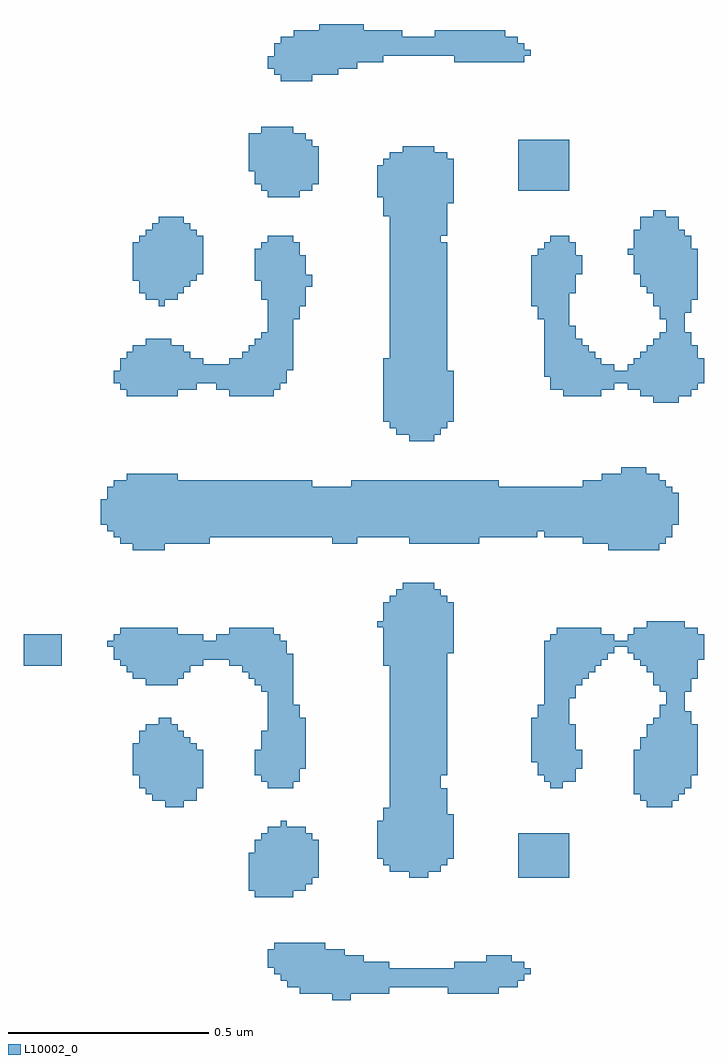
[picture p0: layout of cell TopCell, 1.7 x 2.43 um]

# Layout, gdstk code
import gdstk
lib = gdstk.Library(unit=1e-6, precision=1e-09)
def R(c, l, rs):  # rectangles x0, y0, x1, y1
    for r in rs: c.add(gdstk.rectangle(r[:2], r[2:], *l))
L10002_0 = (10002, 0)

topcell = lib.new_cell('TopCell')
R(topcell, L10002_0, [(1.584,0.704,1.631,0.72), (1.504,0.72,1.727,0.736), (1.872,0.72,1.999,0.736), (1.472,0.736,2.047,0.752), (1.456,0.752,2.063,0.768), (1.44,0.768,2.079,0.783), (1.44,0.783,1.727,0.784), (1.888,0.783,2.063,0.799), (1.424,0.784,1.727,0.799), (1.424,0.799,1.663,0.815), (1.968,0.799,2.031,0.815), (1.424,0.815,1.615,0.831), (1.44,0.831,1.567,0.847), (1.392,0.96,1.487,0.976), (1.376,0.976,1.519,1.071), (1.519,0.992,1.535,1.071), (1.535,1.008,1.551,1.071), (1.776,1.008,1.823,1.024), (2.048,1.008,2.175,1.119), (1.728,1.024,1.855,1.04), (1.712,1.04,1.871,1.056), (1.696,1.056,1.887,1.151), (1.392,1.071,1.551,1.103), (1.408,1.103,1.535,1.119), (1.424,1.119,1.519,1.135), (1.456,1.135,1.471,1.151), (1.712,1.151,1.887,1.167), (1.712,1.167,1.871,1.183), (1.728,1.183,1.871,1.231), (1.168,1.184,1.215,1.2), (2.368,1.184,2.431,1.2), (1.136,1.2,1.247,1.216), (2.352,1.2,2.447,1.216), (1.12,1.216,1.247,1.232), (2.336,1.216,2.463,1.327), (1.728,1.231,1.855,1.536), (1.104,1.232,1.263,1.264), (1.424,1.232,1.487,1.248), (2.128,1.232,2.159,1.248), (2.463,1.232,2.479,1.327), (1.408,1.248,1.503,1.264), (2.112,1.248,2.191,1.264), (1.088,1.264,1.263,1.327), (1.392,1.264,1.503,1.327), (1.855,1.264,1.871,1.536), (2.096,1.264,2.191,1.296), (2.479,1.264,2.495,1.327), (1.503,1.28,1.519,1.327), (2.191,1.28,2.207,1.296), (2.08,1.296,2.207,1.327), (1.088,1.327,1.247,1.343), (1.408,1.327,1.519,1.375), (2.08,1.327,2.191,1.391), (2.352,1.327,2.495,1.359), (1.104,1.343,1.231,1.359), (1.104,1.359,1.215,1.375), (2.368,1.359,2.495,1.391), (1.12,1.375,1.199,1.391), (1.424,1.375,1.519,1.407), (1.152,1.391,1.183,1.407), (2.08,1.391,2.175,1.407), (2.384,1.391,2.479,1.407), (1.424,1.407,1.503,1.439), (2.096,1.407,2.175,1.439), (2.4,1.407,2.479,1.423), (2.4,1.423,2.463,1.439), (1.424,1.439,1.487,1.472), (2.112,1.439,2.175,1.599), (2.416,1.439,2.463,1.472), (2.175,1.456,2.191,1.599), (1.408,1.472,1.487,1.488), (2.4,1.472,2.479,1.488), (1.12,1.488,1.199,1.504), (1.392,1.488,1.487,1.504), (2.191,1.488,2.207,1.599), (2.384,1.488,2.479,1.52), (1.088,1.504,1.215,1.52), (1.376,1.504,1.487,1.52), (2.207,1.504,2.223,1.599), (2.479,1.504,2.495,1.52), (1.072,1.52,1.231,1.536), (1.36,1.52,1.487,1.536), (2.223,1.52,2.239,1.599), (2.368,1.52,2.495,1.536), (0.816,1.536,0.911,1.615), (1.056,1.536,1.263,1.552), (1.328,1.536,1.487,1.552), (1.712,1.536,1.871,1.632), (2.239,1.536,2.255,1.599), (2.352,1.536,2.495,1.552), (1.04,1.552,1.487,1.567), (2.255,1.552,2.271,1.599), (2.336,1.552,2.511,1.568), (1.04,1.567,1.471,1.584), (1.871,1.568,1.887,1.632), (2.271,1.568,2.287,1.599), (2.32,1.568,2.511,1.584), (1.024,1.584,1.471,1.599), (2.287,1.584,2.511,1.599), (1.04,1.599,1.263,1.615), (1.296,1.599,1.455,1.615), (2.128,1.599,2.287,1.615), (2.32,1.599,2.511,1.615), (1.056,1.615,1.199,1.631), (1.328,1.615,1.439,1.631), (2.144,1.615,2.255,1.631), (2.336,1.615,2.495,1.631), (2.368,1.631,2.463,1.647), (1.696,1.632,1.887,1.647), (1.712,1.647,1.887,1.695), (1.728,1.695,1.871,1.711), (1.744,1.711,1.855,1.727), (1.76,1.727,1.839,1.743), (1.088,1.824,1.167,1.84), (2.272,1.824,2.399,1.84), (1.056,1.84,1.279,1.856), (1.584,1.84,1.647,1.856), (1.776,1.84,1.951,1.856), (2.208,1.84,2.415,1.856), (1.04,1.856,2.095,1.872), (2.112,1.856,2.431,1.872), (1.024,1.872,2.431,1.888), (1.008,1.888,2.447,1.951), (1.024,1.951,2.447,1.967), (1.024,1.967,2.431,1.983), (1.04,1.983,1.535,1.999), (1.632,1.983,1.999,1.999), (2.208,1.983,2.415,1.999), (1.072,1.999,1.199,2.015), (2.256,1.999,2.399,2.015), (2.304,2.015,2.367,2.031), (1.776,2.096,1.839,2.112), (1.744,2.112,1.855,2.128), (1.728,2.128,1.871,2.144), (1.712,2.144,1.887,2.271), (2.384,2.192,2.447,2.208), (1.072,2.208,1.199,2.224), (1.328,2.208,1.439,2.224), (2.16,2.208,2.255,2.224), (2.352,2.208,2.479,2.224), (1.056,2.224,1.247,2.24), (1.296,2.224,1.455,2.24), (2.128,2.224,2.287,2.256), (2.32,2.224,2.495,2.24), (1.04,2.24,1.471,2.271), (2.287,2.24,2.511,2.256), (2.112,2.256,2.511,2.271), (1.056,2.271,1.471,2.287), (1.712,2.271,1.871,2.303), (2.112,2.271,2.287,2.287), (2.32,2.271,2.511,2.287), (1.471,2.272,1.487,2.287), (1.056,2.287,1.263,2.303), (1.328,2.287,1.487,2.303), (2.112,2.287,2.255,2.303), (2.336,2.287,2.511,2.303), (1.072,2.303,1.231,2.319), (1.36,2.303,1.487,2.319), (1.728,2.303,1.871,2.591), (2.112,2.303,2.239,2.319), (2.352,2.303,2.495,2.319), (1.088,2.319,1.215,2.335), (1.376,2.319,1.487,2.335), (2.112,2.319,2.223,2.335), (2.368,2.319,2.495,2.335), (1.12,2.335,1.183,2.351), (1.392,2.335,1.487,2.351), (2.112,2.335,2.207,2.351), (2.384,2.335,2.479,2.351), (1.408,2.351,1.487,2.367), (2.112,2.351,2.191,2.383), (2.4,2.351,2.479,2.367), (1.424,2.367,1.487,2.448), (2.416,2.367,2.463,2.4), (2.112,2.383,2.175,2.4), (1.487,2.4,1.503,2.448), (2.096,2.4,2.175,2.432), (2.4,2.4,2.463,2.432), (2.463,2.416,2.479,2.432), (1.152,2.432,1.167,2.448), (1.503,2.432,1.519,2.448), (2.08,2.432,2.175,2.559), (2.384,2.432,2.479,2.464), (1.12,2.448,1.199,2.464), (1.408,2.448,1.519,2.496), (2.479,2.448,2.495,2.464), (1.104,2.464,1.215,2.496), (2.175,2.464,2.191,2.559), (2.368,2.464,2.495,2.48), (1.215,2.48,1.231,2.496), (1.519,2.48,1.535,2.496), (2.352,2.48,2.495,2.512), (1.088,2.496,1.247,2.591), (1.392,2.496,1.535,2.511), (1.392,2.511,1.519,2.559), (1.247,2.512,1.263,2.591), (2.191,2.512,2.207,2.559), (2.336,2.512,2.495,2.56), (1.392,2.559,1.503,2.575), (2.096,2.559,2.191,2.575), (2.32,2.56,2.495,2.575), (1.408,2.575,1.503,2.591), (2.112,2.575,2.191,2.591), (2.336,2.575,2.479,2.607), (1.104,2.591,1.263,2.607), (1.424,2.591,1.487,2.607), (1.728,2.591,1.855,2.656), (2.128,2.591,2.175,2.607), (1.12,2.607,1.247,2.623), (2.336,2.607,2.463,2.623), (1.855,2.608,1.871,2.656), (1.136,2.623,1.231,2.639), (2.352,2.623,2.447,2.655), (1.152,2.639,1.215,2.655), (2.384,2.655,2.415,2.671), (1.712,2.656,1.871,2.704), (1.871,2.688,1.887,2.704), (1.424,2.704,1.503,2.72), (1.696,2.704,1.887,2.783), (1.408,2.72,1.535,2.736), (2.048,2.72,2.175,2.847), (1.392,2.736,1.551,2.768), (1.376,2.768,1.551,2.831), (1.712,2.783,1.887,2.799), (1.728,2.799,1.871,2.815), (1.76,2.815,1.839,2.831), (1.376,2.831,1.535,2.847), (1.376,2.847,1.519,2.863), (1.408,2.863,1.487,2.879), (1.456,2.992,1.535,3.008), (1.44,3.008,1.599,3.024), (1.424,3.024,1.647,3.055), (1.647,3.04,1.711,3.055), (1.888,3.04,2.063,3.056), (1.44,3.055,1.711,3.087), (1.711,3.056,2.079,3.071), (1.711,3.071,2.063,3.087), (1.456,3.087,2.047,3.103), (1.488,3.103,1.759,3.119), (1.84,3.103,2.015,3.119), (1.552,3.119,1.663,3.135)])

lib.write_gds('TopCell.gds')
